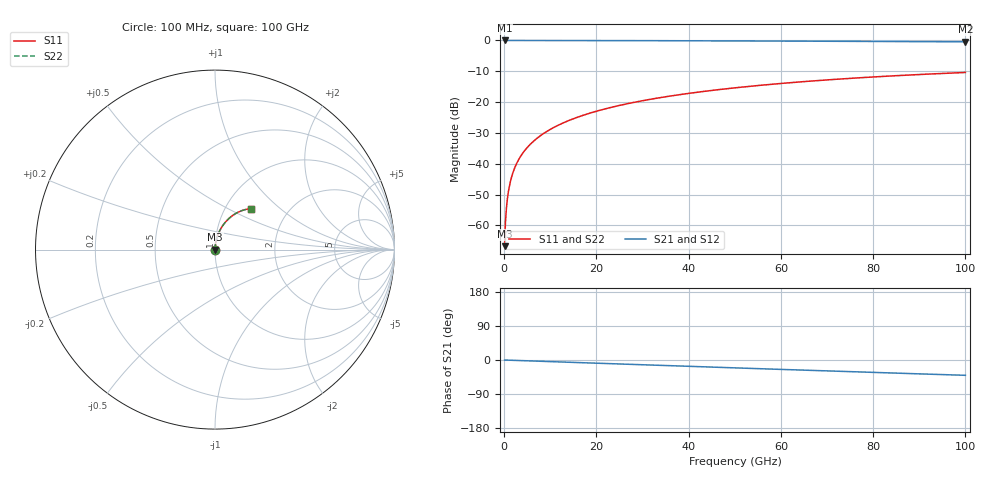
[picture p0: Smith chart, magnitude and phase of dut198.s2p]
! Touchstone file exported from HFSS 2026.1.0
!  File:  C:/ffzhzh/LocalFiles/Ansys_Project_Files/temp_train_TSV_198_1783507410_55944.aedt
!  Generated:  06:44:50 PM Jul  8, 2026
!  Design:  TSV
!  Project:  temp_train_TSV_198_1783507410_55944
! Variables:
!  h_bsmrdl = 2um
!  h_ox = 20um
!  h_rdl = 5um
!  h_sub = 67.9um
!  h_tmrdl = 5um
!  h_tsv = 67.9um
!  h_via = 3um
!  l_bsmrdl = 300um
!  l_sub = 412.42um
!  l_tmrdl = 200um
!  m_sub = 200um
!  pitch = 52.68um
!  r_tsv = 6.21um
!  s_tmrdl = 10um
!  w_bsmrdl = 18um
!  w_sub = 500um
!  w_tmrdl = 12um
!  x_tsv_center1 = 206um
!  x_tsv_center2 = 524um
!  x_tsv_center3 = 736um
!  x_tsv_center4 = 1054um
!  x_tsv_center5 = 1266um
!  x_tsv_center6 = 1584um
# GHz S MA R 50.000000
! Terminal data exported
! Port[1] = TSV1_1_T1
! Port[2] = TSV1_1_T2
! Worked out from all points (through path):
!   1000 points, 100 MHz to 100 GHz, reference 50 ohm
!   highest |S21| = 0.00 dB at 100 MHz (marker M1); lowest = -0.4 dB at 100 GHz (marker M2)
!   group delay of S21, straight-line fit = 1.12 ps
!   lowest |S11| = -66.8 dB at 100 MHz (marker M3), VSWR 1.00, Z = 50 + j0.0395 ohm
!   |S11| at or under -10 dB: start of sweep to end of sweep
!   |S22| runs from -66.8 to -10.4 dB; largest |S21 - S12| = 4e-15
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0.1  0.0004594 59.2  0.9998 -0.0  0.9998 -0.0  0.0004594 59.2
! Gamma 0 0 0 0
! Port Impedance 50 0 50 0
0.4  0.001561 79.9  0.9997 -0.2  0.9997 -0.2  0.001561 79.9
0.7  0.002683 83.3  0.9997 -0.3  0.9997 -0.3  0.002683 83.3
0.8  0.003057 83.9  0.9997 -0.3  0.9997 -0.3  0.003057 83.9
1  0.003805 84.6  0.9997 -0.4  0.9997 -0.4  0.003805 84.6
1.3  0.004923 85.2  0.9996 -0.6  0.9996 -0.6  0.004923 85.2
1.7  0.006403 85.6  0.9996 -0.7  0.9996 -0.7  0.006403 85.6
2.3  0.0086 85.7  0.9995 -1.0  0.9995 -1.0  0.0086 85.7
3  0.01114 85.7  0.9994 -1.3  0.9994 -1.3  0.01114 85.7
3.8  0.01401 85.6  0.9992 -1.6  0.9992 -1.6  0.01401 85.6
4.8  0.01759 85.5  0.9991 -2.0  0.9991 -2.0  0.01759 85.5
6  0.02186 85.2  0.9989 -2.6  0.9989 -2.6  0.02186 85.2
8.8  0.03181 84.4  0.9985 -3.7  0.9985 -3.7  0.03181 84.4
12.4  0.04452 83.2  0.9978 -5.2  0.9978 -5.2  0.04452 83.2
16.8  0.05994 81.5  0.9968 -7.1  0.9968 -7.1  0.05993 81.5
24.2  0.08554 78.7  0.9946 -10.2  0.9946 -10.2  0.08554 78.7
33.4  0.1167 75.0  0.9912 -14.0  0.9912 -14.0  0.1167 75.0
41.2  0.1423 71.9  0.9876 -17.2  0.9876 -17.2  0.1423 71.9
50.1  0.1705 68.4  0.983 -20.8  0.983 -20.8  0.1705 68.4
66.7  0.2198 61.8  0.9728 -27.5  0.9728 -27.5  0.2198 61.8
83.4  0.2642 55.3  0.9615 -34.0  0.9615 -34.0  0.2642 55.4
100  0.3024 49.1  0.95 -40.4  0.95 -40.4  0.3024 49.1
